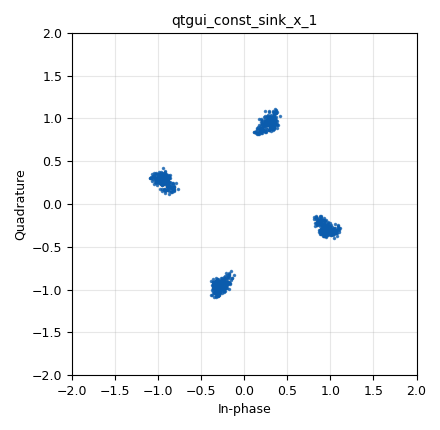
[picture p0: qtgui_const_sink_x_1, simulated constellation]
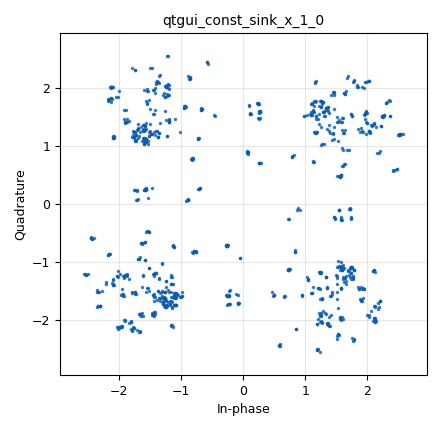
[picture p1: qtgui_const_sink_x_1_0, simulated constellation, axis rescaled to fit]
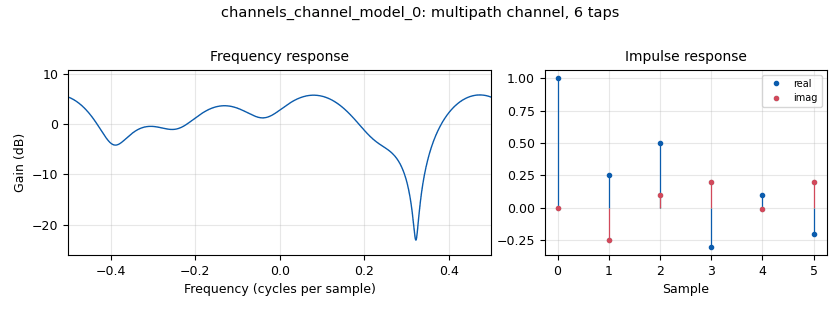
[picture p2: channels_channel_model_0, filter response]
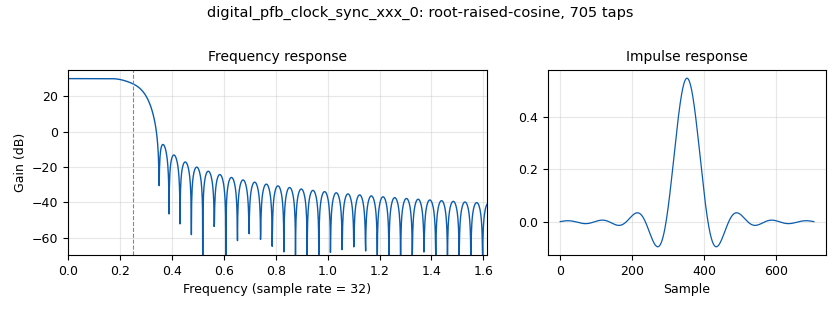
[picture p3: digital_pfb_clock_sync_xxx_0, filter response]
options:
  parameters:
    generate_options: qt_gui
    id: S6_Part1
    output_language: python
    title: Not titled yet
  states: {}

blocks:
- name: nfilts
  id: variable
  parameters:
    value: '32'
  states: {}
- name: rrc_taps
  id: variable
  parameters:
    value: firdes.root_raised_cosine(nfilts, nfilts, 1.0/float(sps), 0.35, 11*sps*nfilts)
  states: {}
- name: samp_rate
  id: variable
  parameters:
    value: '32000'
  states: {}
- name: sps
  id: variable
  parameters:
    value: '2'
  states: {}
- name: analog_random_source_x_0
  id: analog_random_source_x
  parameters:
    max: '8'
    min: '0'
    num_samps: '1000'
    repeat: 'True'
    type: byte
  states: {}
- name: blocks_multiply_const_vxx_0
  id: blocks_multiply_const_vxx
  parameters:
    const: 1+1j
    type: complex
  states: {}
- name: blocks_throttle_0
  id: blocks_throttle
  parameters:
    samples_per_second: samp_rate
    type: complex
  states: {}
- name: channels_channel_model_0
  id: channels_channel_model
  parameters:
    epsilon: '1.0'
    freq_offset: '0'
    noise_voltage: '0.0001'
    seed: '0'
    taps: '[1.0, 0.25-0.25j, 0.50 + 0.10j, -0.3 + 0.2j, 0.1 - 0.01j, -0.2 + 0.2j]'
  states: {}
- name: digital_cma_equalizer_cc_0
  id: digital_cma_equalizer_cc
  parameters:
    modulus: '1'
    mu: '0.01'
    num_taps: '6'
    sps: '2'
  states: {}
- name: digital_pfb_clock_sync_xxx_0
  id: digital_pfb_clock_sync_xxx
  parameters:
    filter_size: '32'
    init_phase: '16'
    loop_bw: 6.28/100.0
    max_dev: '1.5'
    osps: '1'
    sps: '2'
    taps: rrc_taps
    type: ccf
  states: {}
- name: digital_psk_mod_0
  id: digital_psk_mod
  parameters:
    constellation_points: '4'
    differential: 'True'
    excess_bw: '0.35'
    mod_code: '"gray"'
    samples_per_symbol: '2'
  states: {}
- name: qtgui_const_sink_x_1
  id: qtgui_const_sink_x
  parameters:
    size: '1024'
    type: complex
  states: {}
- name: qtgui_const_sink_x_1_0
  id: qtgui_const_sink_x
  parameters:
    size: '1024'
    type: complex
  states: {}

connections:
- [analog_random_source_x_0, '0', digital_psk_mod_0, '0']
- [blocks_multiply_const_vxx_0, '0', channels_channel_model_0, '0']
- [blocks_throttle_0, '0', blocks_multiply_const_vxx_0, '0']
- [channels_channel_model_0, '0', digital_pfb_clock_sync_xxx_0, '0']
- [channels_channel_model_0, '0', qtgui_const_sink_x_1_0, '0']
- [digital_cma_equalizer_cc_0, '0', qtgui_const_sink_x_1, '0']
- [digital_pfb_clock_sync_xxx_0, '0', digital_cma_equalizer_cc_0, '0']
- [digital_psk_mod_0, '0', blocks_throttle_0, '0']

metadata:
  file_format: 1
